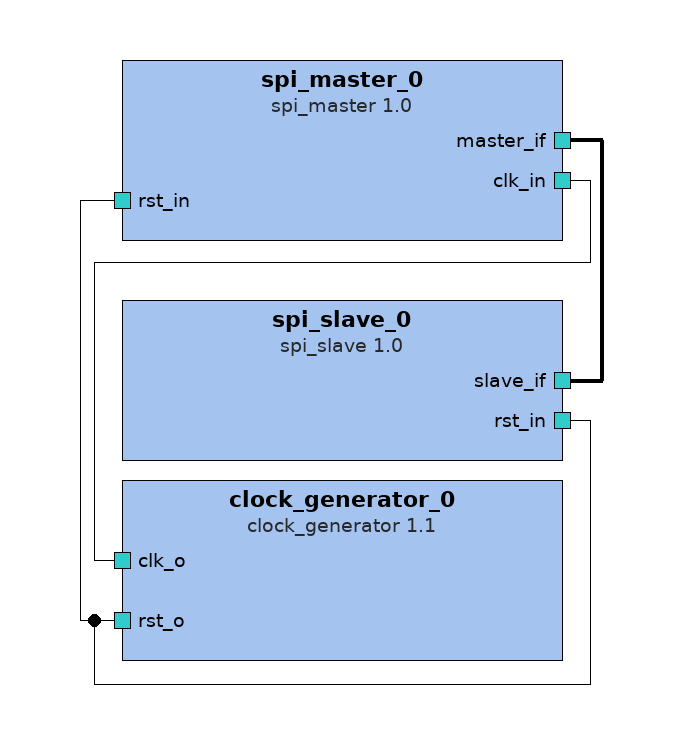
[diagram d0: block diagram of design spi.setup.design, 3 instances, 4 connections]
<?xml version="1.0" encoding="UTF-8"?>
<ipxact:design xmlns:xsi="http://www.w3.org/2001/XMLSchema-instance" xmlns:ipxact="http://www.accellera.org/XMLSchema/IPXACT/1685-2014" xmlns:kactus2="http://kactus2.cs.tut.fi" xsi:schemaLocation="http://www.accellera.org/XMLSchema/IPXACT/1685-2014/ http://www.accellera.org/XMLSchema/IPXACT/1685-2014/index.xsd"><ipxact:vendor>tut.fi</ipxact:vendor><ipxact:library>communication.template.test</ipxact:library>
 <ipxact:name>spi.setup.design</ipxact:name><ipxact:version>1.0</ipxact:version><ipxact:componentInstances>
 <ipxact:componentInstance><ipxact:instanceName>spi_master_0</ipxact:instanceName><ipxact:componentRef vendor="tut.fi" library="communication.template" name="spi_master" version="1.0"/></ipxact:componentInstance>
 <ipxact:componentInstance><ipxact:instanceName>spi_slave_0</ipxact:instanceName><ipxact:componentRef vendor="tut.fi" library="communication.template" name="spi_slave" version="1.0"/></ipxact:componentInstance>
 <ipxact:componentInstance><ipxact:instanceName>clock_generator_0</ipxact:instanceName><ipxact:componentRef vendor="tut.fi" library="other.test" name="clock_generator" version="1.1"/></ipxact:componentInstance>
</ipxact:componentInstances>
 <ipxact:interconnections><ipxact:interconnection><ipxact:name>spi_slave_0_slave_if_to_spi_master_0_master_if</ipxact:name><ipxact:activeInterface componentRef="spi_slave_0" busRef="slave_if"/><ipxact:activeInterface componentRef="spi_master_0" busRef="master_if"/></ipxact:interconnection></ipxact:interconnections>
 <ipxact:adHocConnections>
  <ipxact:adHocConnection><ipxact:name>spi_master_0_clk_in_to_clock_generator_0_clk_o</ipxact:name><ipxact:portReferences><ipxact:internalPortReference componentRef="spi_master_0" portRef="clk_in"/><ipxact:internalPortReference componentRef="clock_generator_0" portRef="clk_o"/></ipxact:portReferences></ipxact:adHocConnection>
  <ipxact:adHocConnection><ipxact:name>clock_generator_0_rst_o_to_spi_slave_0_rst_in</ipxact:name><ipxact:portReferences><ipxact:internalPortReference componentRef="clock_generator_0" portRef="rst_o"/><ipxact:internalPortReference componentRef="spi_slave_0" portRef="rst_in"/></ipxact:portReferences></ipxact:adHocConnection>
  <ipxact:adHocConnection><ipxact:name>clock_generator_0_rst_o_to_spi_master_0_rst_in</ipxact:name><ipxact:portReferences><ipxact:internalPortReference componentRef="clock_generator_0" portRef="rst_o"/><ipxact:internalPortReference componentRef="spi_master_0" portRef="rst_in"/></ipxact:portReferences></ipxact:adHocConnection>
 </ipxact:adHocConnections>
</ipxact:design>

